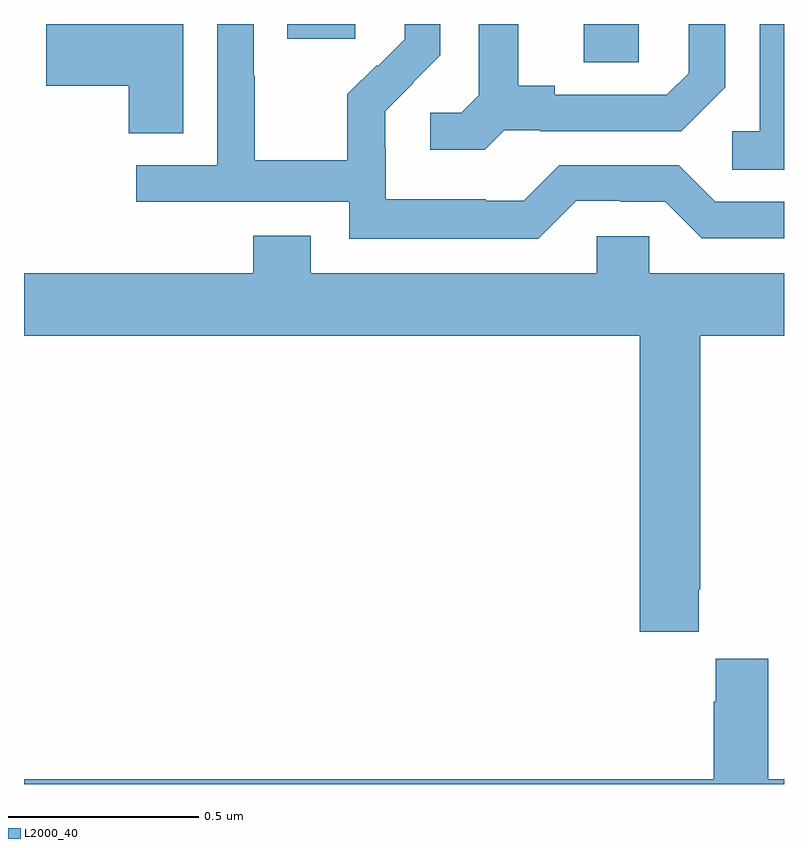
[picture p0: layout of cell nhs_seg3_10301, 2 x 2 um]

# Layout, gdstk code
import gdstk
lib = gdstk.Library(unit=1e-6, precision=1e-09)
def R(c, l, rs):  # rectangles x0, y0, x1, y1
    for r in rs: c.add(gdstk.rectangle(r[:2], r[2:], *l))
def P(c, l, *ps):  # polygons
    for p in ps: c.add(gdstk.Polygon(p, *l))
L2000_40 = (2000, 40)

nhs_seg3_10301 = lib.new_cell('nhs_seg3_10301')
R(nhs_seg3_10301, L2000_40, [(240.473,704.299,240.618,704.4), (239.693,704.361,239.872,704.4)])
P(nhs_seg3_10301, L2000_40, [(240.453,703.935),(240.569,703.935),(240.569,703.932),(240.687,703.932),(240.783,703.836),(241,703.836),(241,703.932),(240.819,703.932),(240.723,704.028),(240.408,704.028),(240.315,703.935),(240.215,703.935),(240.215,703.939),(239.952,703.939),(239.952,704.073),(239.95,704.073),(239.95,704.17),(240.024,704.244),(240.023,704.245),(240.096,704.318),(240.096,704.4),(240.002,704.4),(240.002,704.36),(239.931,704.289),(239.928,704.292),(239.851,704.215),(239.851,704.041),(239.607,704.041),(239.607,704.264),(239.604,704.264),(239.604,704.4),(239.508,704.4),(239.508,704.028),(239.295,704.028),(239.295,703.932),(239.856,703.932),(239.856,703.835),(240.353,703.835)],
  [(240.264,704.121),(240.358,704.121),(240.358,704.118),(240.73,704.118),(240.846,704.234),(240.846,704.4),(240.749,704.4),(240.749,704.271),(240.692,704.214),(240.397,704.214),(240.397,704.237),(240.301,704.237),(240.301,704.4),(240.197,704.4),(240.197,704.213),(240.15,704.166),(240.069,704.166),(240.069,704.069),(240.212,704.069)],
  [(241,704.4),(240.936,704.4),(240.936,704.118),(240.864,704.118),(240.864,704.017),(241,704.017)],
  [(239.419,704.4),(239.058,704.4),(239.058,704.237),(239.276,704.237),(239.276,704.113),(239.419,704.113)],
  [(240.775,702.913),(240.78,702.913),(240.78,703.58),(241,703.58),(241,703.744),(240.645,703.744),(240.645,703.842),(240.507,703.842),(240.507,703.744),(239.755,703.744),(239.755,703.843),(239.603,703.843),(239.603,703.744),(239,703.744),(239,703.58),(240.62,703.58),(240.62,702.801),(240.775,702.801)],
  [(241,702.412),(240.958,702.412),(240.958,702.73),(240.821,702.73),(240.821,702.617),(240.815,702.617),(240.815,702.412),(239,702.412),(239,702.4),(241,702.4)])

lib.write_gds('nhs_seg3_10301.gds')
